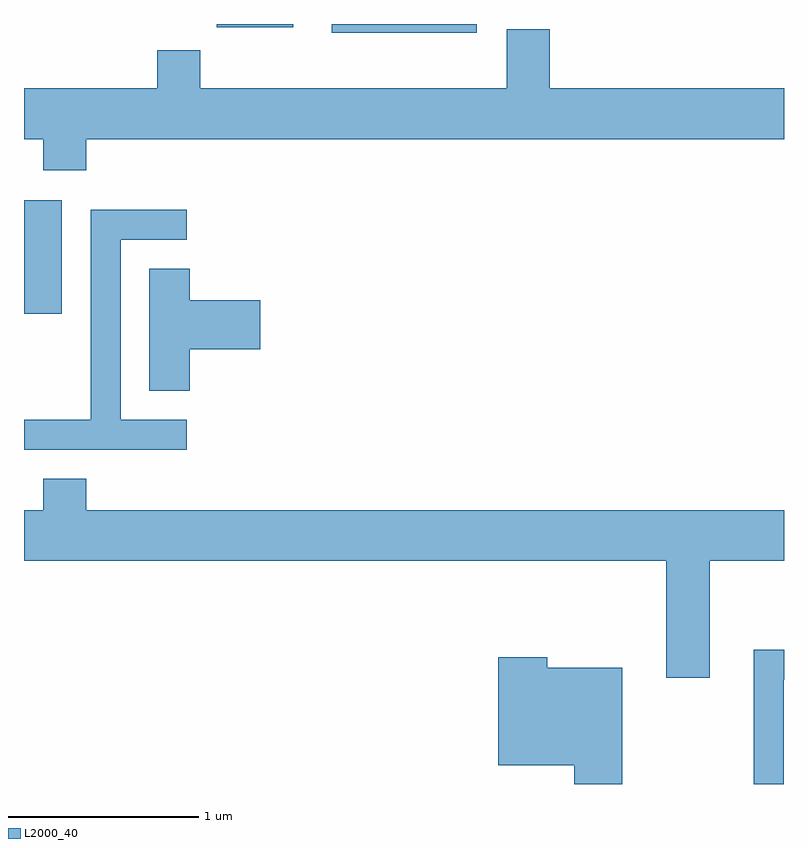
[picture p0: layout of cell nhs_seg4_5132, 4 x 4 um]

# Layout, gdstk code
import gdstk
lib = gdstk.Library(unit=1e-6, precision=1e-09)
def R(c, l, rs):  # rectangles x0, y0, x1, y1
    for r in rs: c.add(gdstk.rectangle(r[:2], r[2:], *l))
def P(c, l, *ps):  # polygons
    for p in ps: c.add(gdstk.Polygon(p, *l))
L2000_40 = (2000, 40)

nhs_seg4_5132 = lib.new_cell('nhs_seg4_5132')
R(nhs_seg4_5132, L2000_40, [(335.611,1320.456,335.809,1321.054), (337.231,1321.936,337.994,1321.982), (336.626,1321.966,337.029,1321.982)])
P(nhs_seg4_5132, L2000_40, [(335.939,1321.376),(339.611,1321.376),(339.611,1321.644),(338.379,1321.644),(338.379,1321.954),(338.151,1321.954),(338.151,1321.644),(336.539,1321.644),(336.539,1321.844),(336.311,1321.844),(336.311,1321.644),(335.611,1321.644),(335.611,1321.376),(335.711,1321.376),(335.711,1321.211),(335.939,1321.211)],
  [(336.468,1319.899),(336.119,1319.899),(336.119,1320.846),(336.468,1320.846),(336.468,1321.004),(335.961,1321.004),(335.961,1319.899),(335.611,1319.899),(335.611,1319.741),(336.468,1319.741)],
  [(336.484,1320.271),(336.854,1320.271),(336.854,1320.529),(336.484,1320.529),(336.484,1320.694),(336.271,1320.694),(336.271,1320.051),(336.484,1320.051)],
  [(339.219,1319.156),(339.611,1319.156),(339.611,1319.424),(335.939,1319.424),(335.939,1319.589),(335.711,1319.589),(335.711,1319.424),(335.611,1319.424),(335.611,1319.156),(338.991,1319.156),(338.991,1318.541),(339.219,1318.541)],
  [(339.609,1318.531),(339.611,1318.531),(339.611,1318.689),(339.451,1318.689),(339.451,1317.982),(339.609,1317.982)],
  [(338.759,1318.594),(338.364,1318.594),(338.364,1318.649),(338.106,1318.649),(338.106,1318.081),(338.506,1318.081),(338.506,1317.982),(338.759,1317.982)])

lib.write_gds('nhs_seg4_5132.gds')
